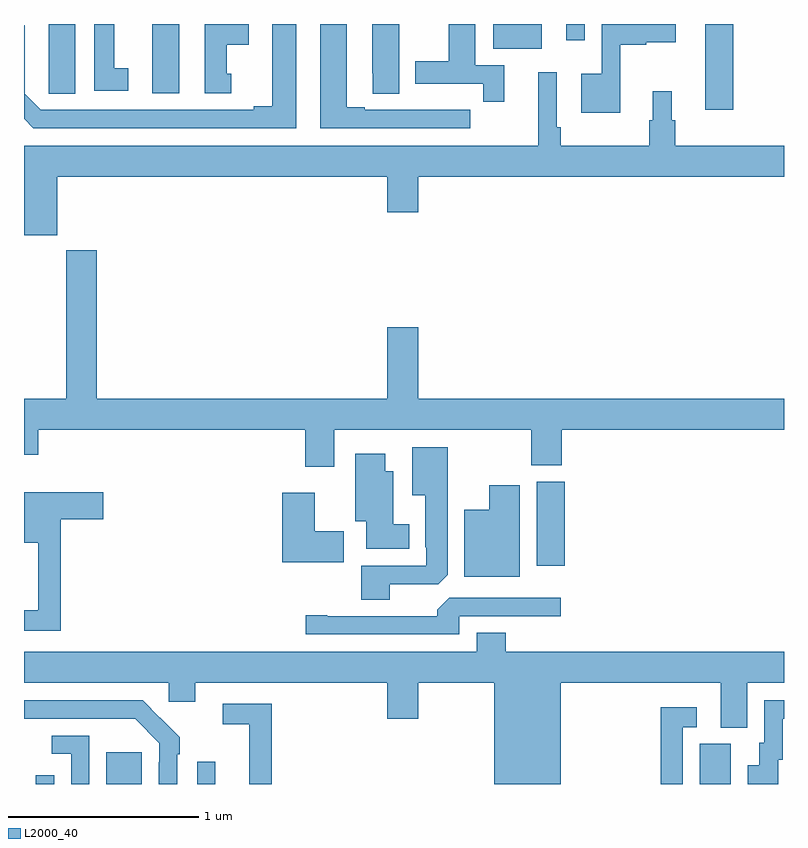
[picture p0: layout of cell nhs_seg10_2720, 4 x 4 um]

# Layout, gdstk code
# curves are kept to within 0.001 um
import gdstk
lib = gdstk.Library(unit=1e-6, precision=1e-09)
def R(c, l, rs):  # rectangles x0, y0, x1, y1
    for r in rs: c.add(gdstk.rectangle(r[:2], r[2:], *l))
def P(c, l, *ps):  # polygons
    for p in ps: c.add(gdstk.Polygon(p, *l))
L2000_40 = (2000, 40)

nhs_seg10_2720 = lib.new_cell('nhs_seg10_2720')
R(nhs_seg10_2720, L2000_40, [(259.062,1250.5,259.158,1250.545), (259.433,1250.5,259.621,1250.668), (259.911,1250.5,260.007,1250.617), (262.556,1250.5,262.72,1250.712), (261.698,1251.648,261.845,1252.092), (262.586,1254.048,262.733,1254.5), (259.676,1254.135,259.816,1254.5), (261.47,1254.371,261.724,1254.5), (261.854,1254.414,261.951,1254.5)])
P(nhs_seg10_2720, L2000_40, [(260.434,1254.5),(260.306,1254.5),(260.306,1254.068),(260.21,1254.068),(260.21,1254.048),(259.089,1254.048),(259.005,1254.132),(259.005,1254.493),(259,1254.493),(259,1254.001),(259.049,1253.952),(260.434,1253.952)],
  [(260.974,1254.5),(260.834,1254.5),(260.834,1254.241),(260.835,1254.241),(260.835,1254.133),(260.974,1254.133)],
  [(261.527,1254.282),(261.376,1254.282),(261.376,1254.5),(261.236,1254.5),(261.236,1254.303),(261.059,1254.303),(261.059,1254.186),(261.418,1254.186),(261.418,1254.09),(261.527,1254.09)],
  [(261.349,1254.048),(261.236,1254.048),(261.236,1254.049),(261.07,1254.049),(261.07,1254.048),(260.794,1254.048),(260.794,1254.063),(260.698,1254.063),(260.698,1254.5),(260.558,1254.5),(260.558,1253.952),(261.349,1253.952)],
  [(259.549,1254.266),(259.474,1254.266),(259.474,1254.5),(259.37,1254.5),(259.37,1254.15),(259.549,1254.15)],
  [(262.138,1254.392),(262.275,1254.392),(262.275,1254.404),(262.429,1254.404),(262.429,1254.5),(262.041,1254.5),(262.041,1254.238),(261.932,1254.238),(261.932,1254.032),(262.138,1254.032)],
  [(259.27,1254.5),(259.13,1254.5),(259.13,1254.241),(259.131,1254.241),(259.131,1254.133),(259.27,1254.133)],
  [(260.092,1254.237),(260.068,1254.237),(260.068,1254.392),(260.182,1254.392),(260.182,1254.5),(259.952,1254.5),(259.952,1254.135),(260.092,1254.135)],
  [(259,1253.387),(259.174,1253.387),(259.174,1253.696),(260.912,1253.696),(260.912,1253.508),(261.076,1253.508),(261.076,1253.696),(263,1253.696),(263,1253.86),(262.427,1253.86),(262.427,1253.994),(262.408,1253.994),(262.408,1254.145),(262.31,1254.145),(262.31,1253.994),(262.291,1253.994),(262.291,1253.86),(261.824,1253.86),(261.824,1253.956),(261.804,1253.956),(261.804,1254.247),(261.707,1254.247),(261.707,1253.86),(259,1253.86)],
  [(260.632,1252.364),(261.67,1252.364),(261.67,1252.177),(261.83,1252.177),(261.83,1252.364),(263,1252.364),(263,1252.528),(261.076,1252.528),(261.076,1252.903),(260.912,1252.903),(260.912,1252.528),(259.382,1252.528),(259.382,1253.308),(259.222,1253.308),(259.222,1252.528),(259,1252.528),(259,1252.233),(259.076,1252.233),(259.076,1252.364),(260.48,1252.364),(260.48,1252.17),(260.632,1252.17)],
  [(260.926,1251.552),(261.18,1251.552),(261.229,1251.601),(261.229,1252.273),(261.044,1252.273),(261.044,1252.019),(261.113,1252.019),(261.113,1251.745),(261.117,1251.745),(261.117,1251.648),(260.774,1251.648),(260.774,1251.469),(260.926,1251.469)],
  [(261.028,1251.868),(260.944,1251.868),(260.944,1252.147),(260.902,1252.147),(260.902,1252.237),(260.744,1252.237),(260.744,1251.884),(260.801,1251.884),(260.801,1251.737),(261.028,1251.737)],
  [(261.61,1252.072),(261.449,1252.072),(261.449,1251.943),(261.317,1251.943),(261.317,1251.59),(261.61,1251.59)],
  [(259.193,1251.893),(259.416,1251.893),(259.416,1252.035),(259,1252.035),(259,1251.77),(259.076,1251.77),(259.076,1251.415),(259,1251.415),(259,1251.306),(259.193,1251.306)],
  [(260.683,1251.831),(260.53,1251.831),(260.53,1252.033),(260.36,1252.033),(260.36,1251.668),(260.683,1251.668)],
  [(261.291,1251.384),(261.826,1251.384),(261.826,1251.48),(261.237,1251.48),(261.176,1251.418),(261.176,1251.384),(260.596,1251.384),(260.596,1251.389),(260.484,1251.389),(260.484,1251.288),(261.291,1251.288)],
  [(261.826,1251.032),(262.667,1251.032),(262.667,1250.797),(262.807,1250.797),(262.807,1251.032),(263,1251.032),(263,1251.196),(261.536,1251.196),(261.536,1251.295),(261.383,1251.295),(261.383,1251.196),(259,1251.196),(259,1251.032),(259.761,1251.032),(259.761,1250.934),(259.9,1250.934),(259.9,1251.032),(260.912,1251.032),(260.912,1250.844),(261.076,1250.844),(261.076,1251.032),(261.476,1251.032),(261.476,1250.5),(261.826,1250.5)],
  [(262.969,1250.628),(262.993,1250.628),(262.993,1250.844),(263,1250.844),(263,1250.94),(262.896,1250.94),(262.896,1250.718),(262.871,1250.718),(262.871,1250.599),(262.808,1250.599),(262.808,1250.5),(262.969,1250.5)],
  [(259.806,1250.657),(259.821,1250.657),(259.821,1250.745),(259.624,1250.94),(259,1250.94),(259,1250.844),(259.585,1250.844),(259.713,1250.715),(259.713,1250.615),(259.71,1250.615),(259.71,1250.5),(259.806,1250.5)],
  [(260.303,1250.922),(260.046,1250.922),(260.046,1250.814),(260.186,1250.814),(260.186,1250.5),(260.303,1250.5)],
  [(262.467,1250.799),(262.54,1250.799),(262.54,1250.905),(262.351,1250.905),(262.351,1250.5),(262.467,1250.5)],
  [(259.344,1250.754),(259.146,1250.754),(259.146,1250.658),(259.248,1250.658),(259.248,1250.5),(259.344,1250.5)])

lib.write_gds('nhs_seg10_2720.gds')
